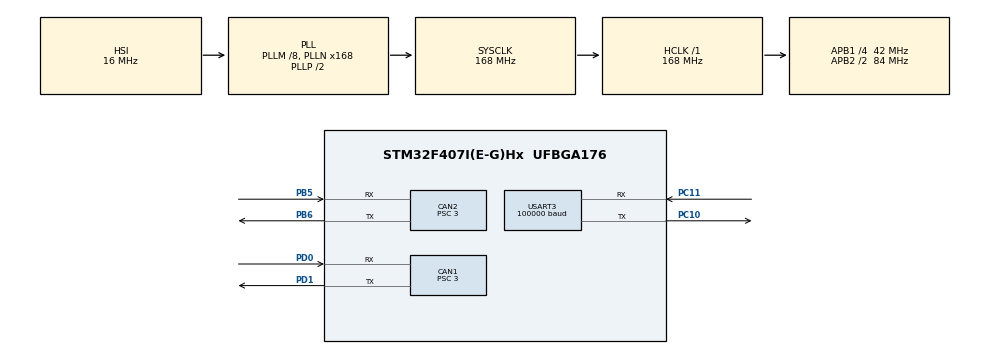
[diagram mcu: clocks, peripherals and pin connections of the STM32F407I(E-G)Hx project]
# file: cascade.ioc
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CAN1.BS1=CAN_BS1_10TQ
CAN1.BS2=CAN_BS2_3TQ
CAN1.CalculateBaudRate=1000000
CAN1.CalculateTimeBit=1000
CAN1.CalculateTimeQuantum=71.42857142857143
CAN1.Prescaler=3
CAN2.BS1=CAN_BS1_10TQ
CAN2.BS2=CAN_BS2_3TQ
CAN2.CalculateBaudRate=1000000
CAN2.CalculateTimeBit=1000
CAN2.CalculateTimeQuantum=71.42857142857143
CAN2.Prescaler=3
Dma.Request0=USART3_RX
Dma.USART3_RX.0.Direction=DMA_PERIPH_TO_MEMORY
Dma.USART3_RX.0.FIFOMode=DMA_FIFOMODE_DISABLE
Dma.USART3_RX.0.Instance=DMA1_Stream1
Dma.USART3_RX.0.MemDataAlignment=DMA_MDATAALIGN_BYTE
Dma.USART3_RX.0.MemInc=DMA_MINC_ENABLE
Dma.USART3_RX.0.Mode=DMA_CIRCULAR
Dma.USART3_RX.0.PeriphDataAlignment=DMA_PDATAALIGN_BYTE
Dma.USART3_RX.0.PeriphInc=DMA_PINC_DISABLE
Dma.USART3_RX.0.Priority=DMA_PRIORITY_VERY_HIGH
FREERTOS.Tasks01=dr16,0,256,remote_control,As weak,NULL,Dynamic,NULL,NULL
Mcu.Family=STM32F4
Mcu.Name=STM32F407I(E-G)Hx
Mcu.Package=UFBGA176
NVIC.CAN1_RX0_IRQn=true\:5\:0\:false\:false\:true\:true\:true\:true\:true
NVIC.CAN2_RX0_IRQn=true\:5\:0\:false\:false\:true\:true\:true\:true\:true
NVIC.DMA1_Stream1_IRQn=true\:5\:0\:false\:false\:true\:true\:false\:true\:true
NVIC.PriorityGroup=NVIC_PRIORITYGROUP_4
NVIC.TIM8_TRG_COM_TIM14_IRQn=true\:15\:0\:false\:false\:true\:false\:false\:true\:true
NVIC.TimeBase=TIM8_TRG_COM_TIM14_IRQn
NVIC.TimeBaseIP=TIM14
PA13.Mode=Serial_Wire
PA13.Signal=SYS_JTMS-SWDIO
PA14.Mode=Serial_Wire
PA14.Signal=SYS_JTCK-SWCLK
PB5.Mode=CAN_Activate
PB5.Signal=CAN2_RX
PB6.Mode=CAN_Activate
PB6.Signal=CAN2_TX
PC10.Mode=Asynchronous
PC10.Signal=USART3_TX
PC11.Mode=Asynchronous
PC11.Signal=USART3_RX
PD0.Mode=CAN_Activate
PD0.Signal=CAN1_RX
PD1.Mode=CAN_Activate
PD1.Signal=CAN1_TX
PH0-OSC_IN.Mode=HSE-External-Oscillator
PH0-OSC_IN.Signal=RCC_OSC_IN
PH1-OSC_OUT.Mode=HSE-External-Oscillator
PH1-OSC_OUT.Signal=RCC_OSC_OUT
ProjectManager.HeapSize=0x200
ProjectManager.StackSize=0x400
ProjectManager.TargetToolchain=MDK-ARM V5.32
RCC.48MHZClocksFreq_Value=84000000
RCC.AHBFreq_Value=168000000
RCC.APB1CLKDivider=RCC_HCLK_DIV4
RCC.APB1Freq_Value=42000000
RCC.APB1TimFreq_Value=84000000
RCC.APB2CLKDivider=RCC_HCLK_DIV2
RCC.APB2Freq_Value=84000000
RCC.APB2TimFreq_Value=168000000
RCC.CortexFreq_Value=168000000
RCC.HCLKFreq_Value=168000000
RCC.HSE_VALUE=25000000
RCC.HSI_VALUE=16000000
RCC.LSE_VALUE=32768
RCC.PLLM=8
RCC.PLLN=168
RCC.SYSCLKFreq_VALUE=168000000
RCC.SYSCLKSource=RCC_SYSCLKSOURCE_PLLCLK
RCC.VCOOutputFreq_Value=336000000
USART3.BaudRate=100000
USART3.Parity=PARITY_EVEN
USART3.VirtualMode=VM_ASYNC
USART3.WordLength=WORDLENGTH_9B
VP_FREERTOS_VS_CMSIS_V1.Mode=CMSIS_V1
VP_SYS_VS_tim14.Mode=TIM14
board=custom

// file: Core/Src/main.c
/* USER CODE BEGIN Header */
/**
  ******************************************************************************
  * @file           : main.c
  * @brief          : Main program body
  ******************************************************************************
  * @attention
  *
  * Copyright (c) 2025 STMicroelectronics.
  * All rights reserved.
  *
  * This software is licensed under terms that can be found in the LICENSE file
  * in the root directory of this software component.
  * If no LICENSE file comes with this software, it is provided AS-IS.
  *
  ******************************************************************************
  */
/* USER CODE END Header */
#include "main.h"
#include "cmsis_os.h"
#include "can.h"
#include "dma.h"
#include "usart.h"
#include "gpio.h"

/* USER CODE BEGIN Includes */

#include "dr16.h"
#include "can_init.h"
#include "can_rx_tx.h"
#include "pid.h"

/* USER CODE END Includes */

/* USER CODE BEGIN PTD */
RC_Ctl_t RC_Ctl;             //遥控器结构体
uint8_t sbus_rx_buffer[18];  //遥控器接受数组

pid_type_def speed_pid,angle_pid;      //声明pid数据结构体类型
const motor_measure_t* motor_data;  //声明电机数据指针
float SPEED_PID[3] = {70,1.2,0};
float ANGLE_PID[3] = {0.05,0.2,0};

/* USER CODE END PTD */

/* USER CODE BEGIN PV */
float set_speed;
float target_angle;
float motor_output;
float angle_out;
float speed_out;

/* USER CODE END PV */

void SystemClock_Config(void);
void MX_FREERTOS_Init(void);

int main(void)
{

  /* MCU Configuration--------------------------------------------------------*/

  /* Reset of all peripherals, Initializes the Flash interface and the Systick. */
  HAL_Init();

  /* Configure the system clock */
  SystemClock_Config();

  /* Initialize all configured peripherals */
  MX_GPIO_Init();
  MX_DMA_Init();
  MX_USART3_UART_Init();
  MX_CAN1_Init();
  MX_CAN2_Init();
  /* USER CODE BEGIN 2 */

  HAL_UART_Receive_DMA(&huart3,sbus_rx_buffer,18);
  can_filter_init();

  PID_init(&speed_pid,PID_POSITION,SPEED_PID,30000,2000);     //PID结构体,pid模式,pid参数,最大总输出,最大i输出
  PID_init(&angle_pid,PID_POSITION,ANGLE_PID,30000,500);

  /* USER CODE END 2 */

  /* Call init function for freertos objects (in cmsis_os2.c) */
  MX_FREERTOS_Init();

  /* Start scheduler */
  osKernelStart();

  /* We should never get here as control is now taken by the scheduler */

  /* Infinite loop */
  /* USER CODE BEGIN WHILE */
  while (1)
  {
//    motor_data = get_yaw_gimbal_motor_measure_point();
//
//	target_angle += (RC_Ctl.rc.ch0 - 1024) / 660.f * 20;
//
//	if(target_angle >= 8192){
//	    target_angle -= 8192;
//	}else if(target_angle <= 0){
//	    target_angle += 8192;
//	}
//	angle_out = PID_calc_angle(&angle_pid,motor_data->ecd,target_angle);
//    speed_out = PID_calc_speed(&speed_pid,motor_data->speed_rpm,angle_out);    //pid参数;实际转速;设定参数
//
//	CAN_cmd_gimbal(speed_out,0,0,0);
//	HAL_Delay(1);
    /* USER CODE END WHILE */

  }
}

void SystemClock_Config(void)
{
  RCC_OscInitTypeDef RCC_OscInitStruct = {0};
  RCC_ClkInitTypeDef RCC_ClkInitStruct = {0};

  /** Configure the main internal regulator output voltage
  */
  __HAL_RCC_PWR_CLK_ENABLE();
  __HAL_PWR_VOLTAGESCALING_CONFIG(PWR_REGULATOR_VOLTAGE_SCALE1);

  /** Initializes the RCC Oscillators according to the specified parameters
  * in the RCC_OscInitTypeDef structure.
  */
  RCC_OscInitStruct.OscillatorType = RCC_OSCILLATORTYPE_HSI;
  RCC_OscInitStruct.HSIState = RCC_HSI_ON;
  RCC_OscInitStruct.HSICalibrationValue = RCC_HSICALIBRATION_DEFAULT;
  RCC_OscInitStruct.PLL.PLLState = RCC_PLL_ON;
  RCC_OscInitStruct.PLL.PLLSource = RCC_PLLSOURCE_HSI;
  RCC_OscInitStruct.PLL.PLLM = 8;
  RCC_OscInitStruct.PLL.PLLN = 168;
  RCC_OscInitStruct.PLL.PLLP = RCC_PLLP_DIV2;
  RCC_OscInitStruct.PLL.PLLQ = 4;
  if (HAL_RCC_OscConfig(&RCC_OscInitStruct) != HAL_OK)
  {
    Error_Handler();
  }

  /** Initializes the CPU, AHB and APB buses clocks
  */
  RCC_ClkInitStruct.ClockType = RCC_CLOCKTYPE_HCLK|RCC_CLOCKTYPE_SYSCLK
                              |RCC_CLOCKTYPE_PCLK1|RCC_CLOCKTYPE_PCLK2;
  RCC_ClkInitStruct.SYSCLKSource = RCC_SYSCLKSOURCE_PLLCLK;
  RCC_ClkInitStruct.AHBCLKDivider = RCC_SYSCLK_DIV1;
  RCC_ClkInitStruct.APB1CLKDivider = RCC_HCLK_DIV4;
  RCC_ClkInitStruct.APB2CLKDivider = RCC_HCLK_DIV2;

  if (HAL_RCC_ClockConfig(&RCC_ClkInitStruct, FLASH_LATENCY_5) != HAL_OK)
  {
    Error_Handler();
  }
}

void HAL_TIM_PeriodElapsedCallback(TIM_HandleTypeDef *htim)
{
  if (htim->Instance == TIM14)
  {
    HAL_IncTick();
  }
}

void Error_Handler(void)
{
  __disable_irq();
  while (1)
  {
  }
}

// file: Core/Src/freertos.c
/* USER CODE BEGIN Header */
/**
  ******************************************************************************
  * File Name          : freertos.c
  * Description        : Code for freertos applications
  ******************************************************************************
  * @attention
  *
  * Copyright (c) 2025 STMicroelectronics.
  * All rights reserved.
  *
  * This software is licensed under terms that can be found in the LICENSE file
  * in the root directory of this software component.
  * If no LICENSE file comes with this software, it is provided AS-IS.
  *
  ******************************************************************************
  */
/* USER CODE END Header */

#include "FreeRTOS.h"
#include "task.h"
#include "main.h"
#include "cmsis_os.h"

osThreadId dr16Handle;

void remote_control(void const * argument);

void MX_FREERTOS_Init(void); /* (MISRA C 2004 rule 8.1) */

/* GetIdleTaskMemory prototype (linked to static allocation support) */
void vApplicationGetIdleTaskMemory( StaticTask_t **ppxIdleTaskTCBBuffer, StackType_t **ppxIdleTaskStackBuffer, uint32_t *pulIdleTaskStackSize );

/* USER CODE BEGIN GET_IDLE_TASK_MEMORY */
static StaticTask_t xIdleTaskTCBBuffer;
static StackType_t xIdleStack[configMINIMAL_STACK_SIZE];

void vApplicationGetIdleTaskMemory( StaticTask_t **ppxIdleTaskTCBBuffer, StackType_t **ppxIdleTaskStackBuffer, uint32_t *pulIdleTaskStackSize )
{
  *ppxIdleTaskTCBBuffer = &xIdleTaskTCBBuffer;
  *ppxIdleTaskStackBuffer = &xIdleStack[0];
  *pulIdleTaskStackSize = configMINIMAL_STACK_SIZE;
  /* place for user code */
}
/* USER CODE END GET_IDLE_TASK_MEMORY */

void MX_FREERTOS_Init(void) {

  /* Create the thread(s) */
  /* definition and creation of dr16 */
  osThreadDef(dr16, remote_control, osPriorityNormal, 0, 256);
  dr16Handle = osThreadCreate(osThread(dr16), NULL);

}

__weak void remote_control(void const * argument)
{
  for(;;)
  {
    osDelay(1);
  }
}
